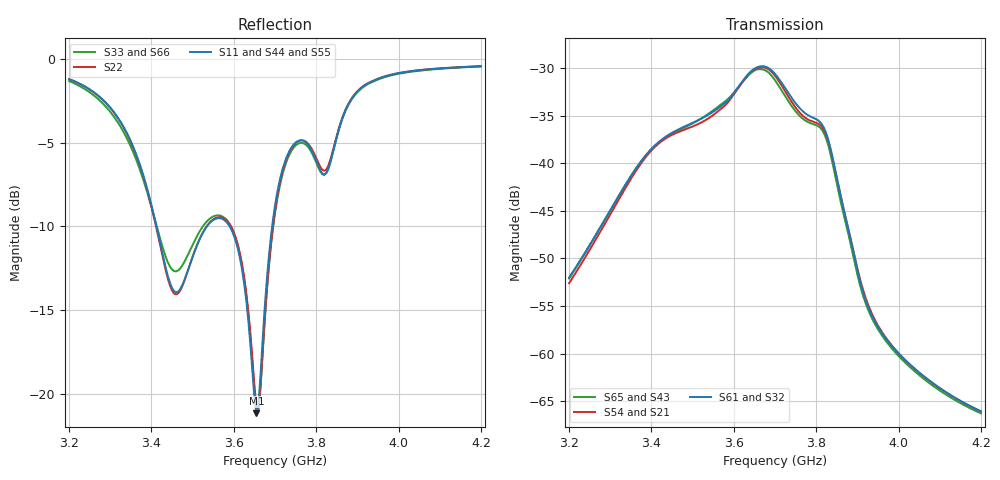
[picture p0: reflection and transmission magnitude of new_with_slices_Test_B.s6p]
! Touchstone file exported from HFSS 2024.2.0
!  File:  D:/Jatin/new_with_slices.aedt
!  Generated:  04:24:05 PM Oct  4, 2026
!  Design:  Test_B
!  Project:  new_with_slices
!  Setup:  Setup1
!  Solution:  Sweep
! Variables:
!  $L = 85mm
!  $W = 35mm
!  H = 1.575mm
!  L = 42mm
!  W = 35mm
!  Wb = 6mm
!  a = 3.5mm
!  ant_dist = 115mm
!  ant_gap = 3mm
!  b = 5mm
!  c = 5mm
!  d = 2mm
!  g1 = 2mm
!  g2 = 2mm
!  g3 = 1mm
!  g4 = 2mm
!  gap = 10mm
!  r1 = 3.5mm
!  r2 = 6mm
!  r_brain = 95mm
!  r_brain_ad = 61.68mm
!  r_csf = 95.5mm
!  r_csf_expanded = 64.6mm
!  r_csf_inner = 61.68mm
!  r_csf_outer = 83.5mm
!  r_fat = 87.5mm
!  r_gray = 70.55mm
!  r_gray_healthy = 83mm
!  r_grey_healthy = 83mm
!  r_hippo_healthy = 25mm
!  r_skin = 88mm
!  r_skull = 86.5mm
!  r_white = 17.5mm
!  r_white_healthy = 76mm
!  slot_distance = 15mm
!  wc = 12mm
!  y1 = 15mm
!  y2 = 5mm
!  y4 = 11mm
!  z_ebg = -94.575mm
! Terminal data exported
! Port[1] = FEED_3_T4
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# GHz S MA R 50.000000
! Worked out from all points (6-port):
!   201 points, 3.2 GHz to 4.2 GHz, reference 50 ohm
!   strongest paths, dB at 3.2 GHz, 3.45 GHz, 3.7 GHz, 3.95 GHz, 4.2 GHz:
!     S61: -52.1, -36.8, -30.6, -57.2, -66.1
!     S54: -52.6, -37.0, -30.8, -57.0, -66.1
!     S21: -52.6, -36.8, -31.0, -57.2, -66.1
!     S65: -52.0, -36.9, -31.3, -57.4, -66.3
!     S32: -52.0, -36.9, -30.8, -57.2, -66.1
!     S43: -52.1, -36.9, -31.2, -57.3, -66.1
!   lowest |S11| = -21.2 dB at 3.655 GHz (marker M1), VSWR 1.19, Z = 43.7 - j5.33 ohm
!   |S11| at or under -10 dB: 3.412 GHz to 3.535 GHz (122.7 MHz wide, 3.53 % of centre); 3.59 GHz to 3.693 GHz (103.4 MHz wide, 2.84 % of centre)
